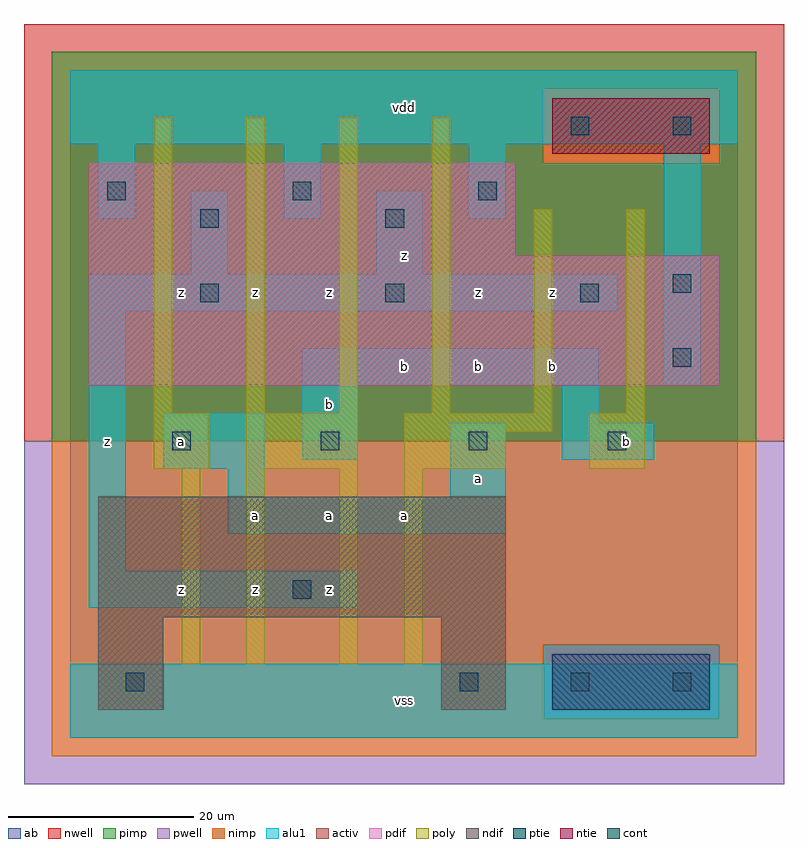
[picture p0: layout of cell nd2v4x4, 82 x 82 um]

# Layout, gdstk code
import gdstk
lib = gdstk.Library(unit=1e-6, precision=1e-09)
def R(c, l, rs):  # rectangles x0, y0, x1, y1
    for r in rs: c.add(gdstk.rectangle(r[:2], r[2:], *l))
def A(c, l, x, y, w, h, nx, ny, dx, dy):  # array of equal rectangles
    R(c, l, [(x+i*dx, y+j*dy, x+i*dx+w, y+j*dy+h) for i in range(nx) for j in range(ny)])
ndif = (3, 0)
pdif = (4, 0)
ntie = (5, 0)
ptie = (6, 0)
cont = (25, 0)
pwell = (41, 0)
nwell = (42, 0)
activ = (43, 0)
pimp = (44, 0)
nimp = (45, 0)
poly = (46, 0)
alu1 = (49, 0)
ab = (63, 0)

nd2v4x4 = lib.new_cell('nd2v4x4')
R(nd2v4x4, ndif, [(3,3,10,13), (40,3,47,13), (3,13,47,26)])
R(nd2v4x4, pdif, [(2,38,70,52), (2,52,48,62)])
R(nd2v4x4, ntie, [(52,63,69,69)])
R(nd2v4x4, ptie, [(52,3,69,9)])
A(nd2v4x4, cont, 11, 31, 2, 2, 3, 1, 16, 0)
A(nd2v4x4, cont, 4, 58, 2, 2, 3, 1, 20, 0)
R(nd2v4x4, cont, [(6,5,8,7), (42,5,44,7), (54,5,56,7), (65,5,67,7), (24,15,26,17), (58,31,60,33), (65,40,67,42), (14,47,16,49), (34,47,36,49), (55,47,57,49), (65,48,67,50), (14,55,16,57), (34,55,36,57), (54,65,56,67), (65,65,67,67)])
R(nd2v4x4, pwell, [(-5,-5,77,32)])
R(nd2v4x4, nwell, [(-5,32,77,77)])
R(nd2v4x4, activ, [(3,3,10,13), (40,3,47,13), (52,3,69,9), (3,13,47,26), (2,38,70,52), (2,52,48,62), (52,63,69,69)])
R(nd2v4x4, pimp, [(51,2,70,10), (-2,32,74,62), (-2,62,51,70), (70,62,74,70), (-2,70,74,74)])
R(nd2v4x4, nimp, [(-2,-2,74,2), (-2,2,51,10), (70,2,74,10), (-2,10,74,32), (51,62,70,70)])
A(nd2v4x4, poly, 9, 35, 2, 32, 4, 1, 10, 0)
R(nd2v4x4, poly, [(12,8,14,29), (19,8,21,29), (29,8,31,29), (36,8,38,29), (9,29,15,35), (19,29,31,35), (36,29,47,33), (56,29,62,35), (36,33,52,35), (50,35,52,57), (60,35,62,57)])
A(nd2v4x4, alu1, 3, 56, 4, 8, 3, 1, 20, 0)
R(nd2v4x4, alu1, [(0,0,72,8), (2,14,31,18), (2,18,6,46), (17,22,47,26), (17,26,21,29), (41,26,47,34), (10,29,21,35), (25,30,31,38), (53,30,63,34), (53,34,57,38), (25,38,57,42), (64,38,68,64), (2,46,59,50), (13,50,17,59), (33,50,38,59), (0,64,72,72)])
R(nd2v4x4, ab, [(0,0,72,72)])
nd2v4x4.add(gdstk.Label('z', (12,16), layer=49, texttype=0))
nd2v4x4.add(gdstk.Label('a', (12,32), layer=49, texttype=0))
nd2v4x4.add(gdstk.Label('z', (4,32), layer=49, texttype=0))
nd2v4x4.add(gdstk.Label('z', (12,48), layer=49, texttype=0))
nd2v4x4.add(gdstk.Label('z', (28,16), layer=49, texttype=0))
nd2v4x4.add(gdstk.Label('z', (20,16), layer=49, texttype=0))
nd2v4x4.add(gdstk.Label('a', (20,24), layer=49, texttype=0))
nd2v4x4.add(gdstk.Label('a', (28,24), layer=49, texttype=0))
nd2v4x4.add(gdstk.Label('b', (28,36), layer=49, texttype=0))
nd2v4x4.add(gdstk.Label('z', (20,48), layer=49, texttype=0))
nd2v4x4.add(gdstk.Label('z', (28,48), layer=49, texttype=0))
nd2v4x4.add(gdstk.Label('vss', (36,4), layer=49, texttype=0))
nd2v4x4.add(gdstk.Label('a', (36,24), layer=49, texttype=0))
nd2v4x4.add(gdstk.Label('a', (44,28), layer=49, texttype=0))
nd2v4x4.add(gdstk.Label('b', (44,40), layer=49, texttype=0))
nd2v4x4.add(gdstk.Label('b', (52,40), layer=49, texttype=0))
nd2v4x4.add(gdstk.Label('b', (36,40), layer=49, texttype=0))
nd2v4x4.add(gdstk.Label('z', (36,52), layer=49, texttype=0))
nd2v4x4.add(gdstk.Label('z', (52,48), layer=49, texttype=0))
nd2v4x4.add(gdstk.Label('z', (44,48), layer=49, texttype=0))
nd2v4x4.add(gdstk.Label('vdd', (36,68), layer=49, texttype=0))
nd2v4x4.add(gdstk.Label('b', (60,32), layer=49, texttype=0))

lib.write_gds('nd2v4x4.gds')
